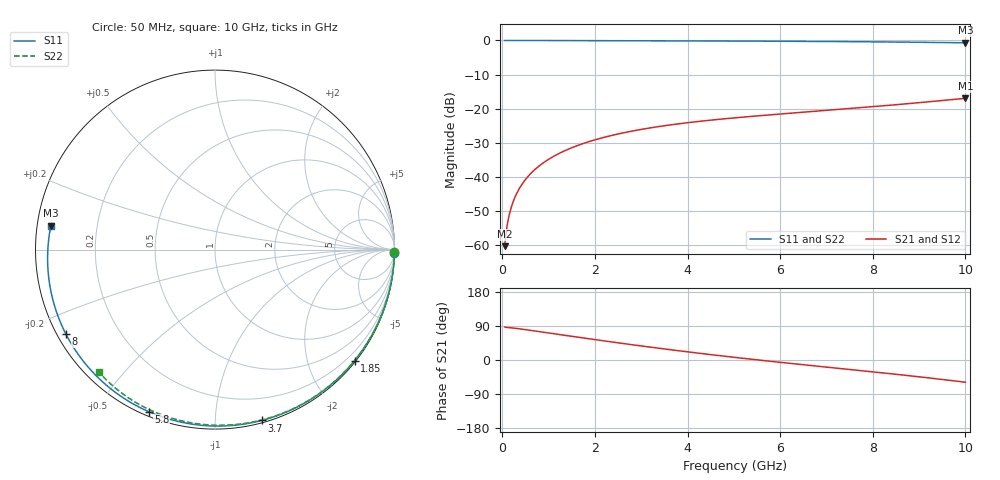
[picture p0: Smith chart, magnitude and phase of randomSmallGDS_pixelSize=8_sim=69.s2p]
! freq	dB(S11)	phase(S11)	dB(S12)	phase(S12)
!  dB(S21)	phase(S21)	dB(S22)	phase(S22)
!S-par simulation data
#  GHz  S  DB  R 50
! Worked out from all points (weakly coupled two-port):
!   200 points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, 50 MHz to 10 GHz, reference 50 ohm
!   highest |S21| = -16.95 dB at 10 GHz (marker M1); lowest = -60.2 dB at 50 MHz (marker M2)
!   lowest |S11| = -0.7 dB at 10 GHz (marker M3), VSWR 25.31, Z = 1.99 + j3.61 ohm
!   |S11| at or under -10 dB: nowhere
!   |S22| runs from -0.5 to 0.0 dB; largest |S21 - S12| = 0
!   S11 on the Smith chart (normalised r, x): 50 MHz: open; 1.85 GHz: 0.03, -2.86; 3.7 GHz: 0.02, -1.31; 5.8 GHz: 0.02, -0.67; 8 GHz: 0.02, -0.26; 10 GHz: 0.04, +0.07
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0.05  -0.00 -1.1  -60.24 87.1  -60.24 87.1  -0.00 -0.8
0.1  -0.00 -2.1  -54.44 86.0  -54.44 86.0  -0.00 -1.6
0.15  -0.00 -3.2  -51.03 85.4  -51.03 85.4  -0.00 -2.4
0.2  -0.00 -4.3  -48.58 84.8  -48.58 84.8  -0.00 -3.1
0.35  -0.01 -7.4  -43.79 82.6  -43.79 82.6  -0.00 -5.5
0.5  -0.01 -10.6  -40.72 80.1  -40.72 80.1  -0.01 -7.8
0.7  -0.02 -14.8  -37.84 76.7  -37.84 76.7  -0.01 -10.9
1  -0.03 -21.1  -34.80 71.4  -34.80 71.4  -0.02 -15.6
1.35  -0.04 -28.3  -32.29 65.1  -32.29 65.1  -0.03 -20.9
1.75  -0.05 -36.5  -30.16 58.1  -30.16 58.1  -0.04 -27.0
1.85  -0.05 -38.5  -29.72 56.4  -29.72 56.4  -0.04 -28.5
2.65  -0.08 -54.5  -26.95 42.8  -26.95 42.8  -0.06 -40.4
3.4  -0.10 -69.0  -25.17 30.7  -25.17 30.7  -0.08 -51.3
3.7  -0.11 -74.6  -24.60 26.1  -24.60 26.1  -0.09 -55.5
4.35  -0.14 -86.6  -23.55 16.4  -23.55 16.4  -0.11 -64.6
5.05  -0.17 -99.2  -22.62 6.5  -22.62 6.5  -0.13 -74.0
5.8  -0.22 -112.3  -21.76 -3.6  -21.76 -3.6  -0.17 -83.8
6.7  -0.28 -127.8  -20.81 -15.0  -20.81 -15.0  -0.21 -95.0
8  -0.40 -150.4  -19.40 -31.2  -19.40 -31.2  -0.31 -110.7
8.35  -0.44 -156.6  -19.00 -35.7  -19.00 -35.7  -0.34 -114.8
9.2  -0.56 -172.3  -17.97 -47.1  -17.97 -47.1  -0.43 -124.5
10  -0.69 171.7  -16.95 -58.7  -16.95 -58.7  -0.54 -133.6
